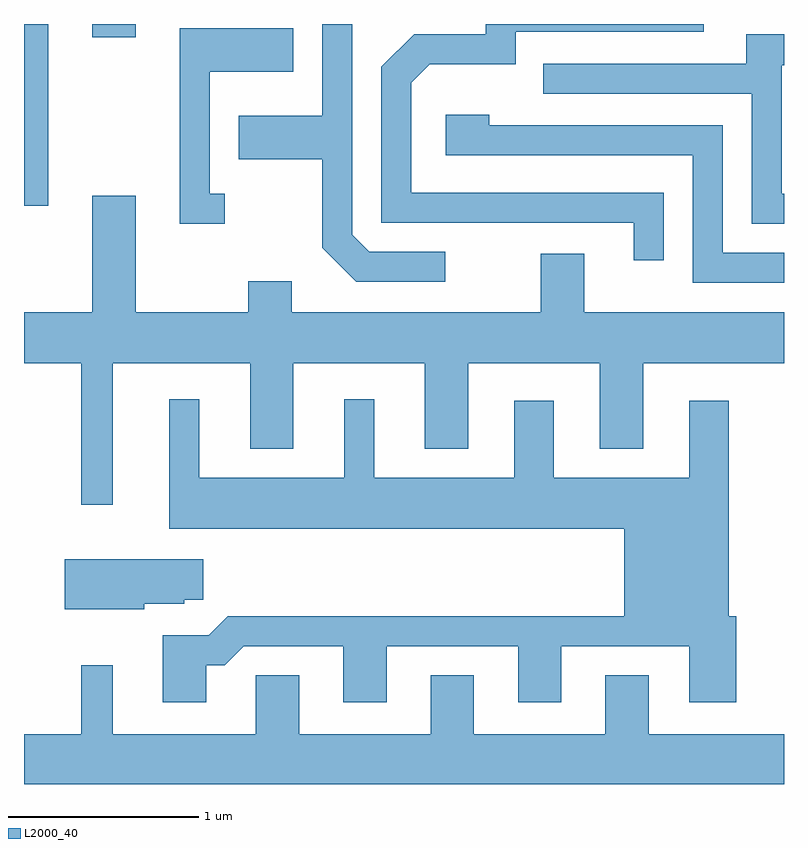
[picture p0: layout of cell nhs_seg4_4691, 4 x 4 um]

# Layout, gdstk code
import gdstk
lib = gdstk.Library(unit=1e-6, precision=1e-09)
def R(c, l, rs):  # rectangles x0, y0, x1, y1
    for r in rs: c.add(gdstk.rectangle(r[:2], r[2:], *l))
def P(c, l, *ps):  # polygons
    for p in ps: c.add(gdstk.Polygon(p, *l))
L2000_40 = (2000, 40)

nhs_seg4_4691 = lib.new_cell('nhs_seg4_4691')
R(nhs_seg4_4691, L2000_40, [(321.611,1391.026,321.739,1391.982), (321.971,1391.911,322.199,1391.982)])
P(nhs_seg4_4691, L2000_40, [(323.828,1390.784),(323.427,1390.784),(323.339,1390.872),(323.339,1391.982),(323.181,1391.982),(323.181,1391.499),(322.741,1391.499),(322.741,1391.271),(323.181,1391.271),(323.181,1390.804),(323.359,1390.626),(323.828,1390.626)],
  [(324.979,1391.094),(323.649,1391.094),(323.649,1391.674),(323.747,1391.771),(324.199,1391.771),(324.199,1391.941),(325.189,1391.941),(325.189,1391.982),(324.041,1391.982),(324.041,1391.929),(323.664,1391.929),(323.491,1391.757),(323.491,1390.936),(324.821,1390.936),(324.821,1390.738),(324.979,1390.738)],
  [(322.668,1391.089),(322.589,1391.089),(322.589,1391.731),(323.029,1391.731),(323.029,1391.959),(322.431,1391.959),(322.431,1390.931),(322.668,1390.931)],
  [(325.611,1391.089),(325.599,1391.089),(325.599,1391.766),(325.611,1391.766),(325.611,1391.929),(325.411,1391.929),(325.411,1391.774),(324.343,1391.774),(324.343,1391.616),(325.441,1391.616),(325.441,1390.931),(325.611,1390.931)],
  [(325.611,1390.779),(325.289,1390.779),(325.289,1391.449),(324.059,1391.449),(324.059,1391.504),(323.831,1391.504),(323.831,1391.291),(325.131,1391.291),(325.131,1390.621),(325.611,1390.621)],
  [(322.079,1390.196),(322.801,1390.196),(322.801,1389.746),(323.029,1389.746),(323.029,1390.196),(323.721,1390.196),(323.721,1389.746),(323.949,1389.746),(323.949,1390.196),(324.641,1390.196),(324.641,1389.746),(324.869,1389.746),(324.869,1390.196),(325.611,1390.196),(325.611,1390.464),(324.559,1390.464),(324.559,1390.774),(324.331,1390.774),(324.331,1390.464),(323.019,1390.464),(323.019,1390.629),(322.791,1390.629),(322.791,1390.464),(322.199,1390.464),(322.199,1391.079),(321.971,1391.079),(321.971,1390.464),(321.611,1390.464),(321.611,1390.196),(321.911,1390.196),(321.911,1389.453),(322.079,1389.453)],
  [(322.569,1388.606),(322.667,1388.606),(322.767,1388.706),(323.291,1388.706),(323.291,1388.411),(323.519,1388.411),(323.519,1388.706),(324.211,1388.706),(324.211,1388.411),(324.439,1388.411),(324.439,1388.706),(325.111,1388.706),(325.111,1388.411),(325.359,1388.411),(325.359,1388.864),(325.319,1388.864),(325.319,1389.999),(325.111,1389.999),(325.111,1389.594),(324.399,1389.594),(324.399,1389.999),(324.191,1389.999),(324.191,1389.594),(323.454,1389.594),(323.454,1390.008),(323.296,1390.008),(323.296,1389.594),(322.534,1389.594),(322.534,1390.008),(322.376,1390.008),(322.376,1389.326),(324.771,1389.326),(324.771,1388.864),(322.684,1388.864),(322.584,1388.764),(322.341,1388.764),(322.341,1388.411),(322.569,1388.411)],
  [(322.244,1388.931),(322.454,1388.931),(322.454,1388.951),(322.554,1388.951),(322.554,1389.164),(321.826,1389.164),(321.826,1388.901),(322.244,1388.901)],
  [(325.611,1388.244),(324.899,1388.244),(324.899,1388.554),(324.671,1388.554),(324.671,1388.244),(323.979,1388.244),(323.979,1388.554),(323.751,1388.554),(323.751,1388.244),(323.059,1388.244),(323.059,1388.554),(322.831,1388.554),(322.831,1388.244),(322.079,1388.244),(322.079,1388.608),(321.911,1388.608),(321.911,1388.244),(321.611,1388.244),(321.611,1387.982),(325.611,1387.982)])

lib.write_gds('nhs_seg4_4691.gds')
